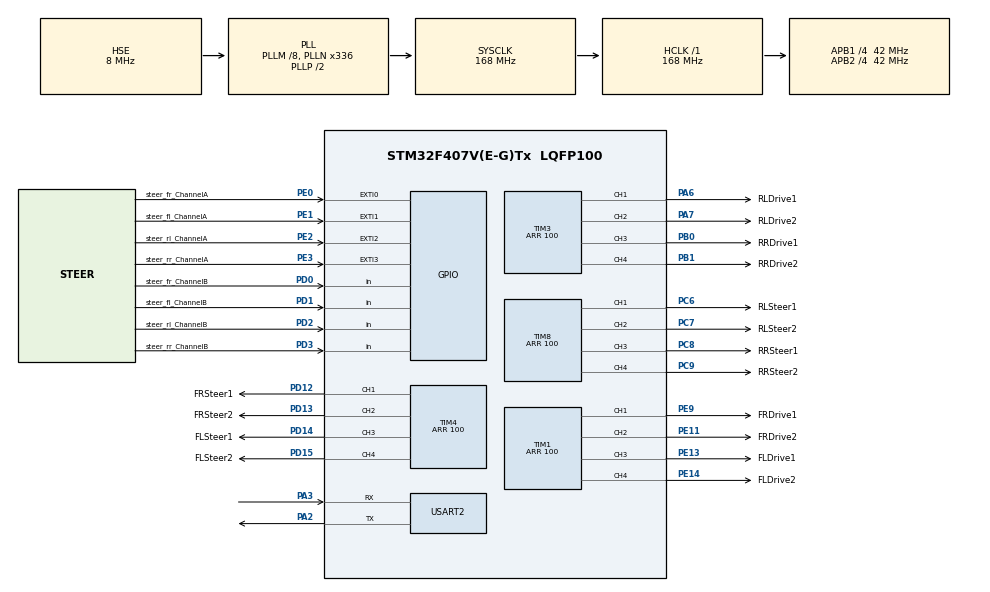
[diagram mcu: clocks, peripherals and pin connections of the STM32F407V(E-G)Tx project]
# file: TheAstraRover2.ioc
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Dma.Request0=USART2_TX
Dma.Request1=USART2_RX
Dma.USART2_RX.1.Direction=DMA_PERIPH_TO_MEMORY
Dma.USART2_RX.1.FIFOMode=DMA_FIFOMODE_DISABLE
Dma.USART2_RX.1.Instance=DMA1_Stream5
Dma.USART2_RX.1.MemDataAlignment=DMA_MDATAALIGN_BYTE
Dma.USART2_RX.1.MemInc=DMA_MINC_ENABLE
Dma.USART2_RX.1.Mode=DMA_CIRCULAR
Dma.USART2_RX.1.PeriphDataAlignment=DMA_PDATAALIGN_BYTE
Dma.USART2_RX.1.PeriphInc=DMA_PINC_DISABLE
Dma.USART2_RX.1.Priority=DMA_PRIORITY_HIGH
Dma.USART2_TX.0.Direction=DMA_MEMORY_TO_PERIPH
Dma.USART2_TX.0.FIFOMode=DMA_FIFOMODE_DISABLE
Dma.USART2_TX.0.Instance=DMA1_Stream6
Dma.USART2_TX.0.MemDataAlignment=DMA_MDATAALIGN_BYTE
Dma.USART2_TX.0.MemInc=DMA_MINC_ENABLE
Dma.USART2_TX.0.Mode=DMA_NORMAL
Dma.USART2_TX.0.PeriphDataAlignment=DMA_PDATAALIGN_BYTE
Dma.USART2_TX.0.PeriphInc=DMA_PINC_DISABLE
Dma.USART2_TX.0.Priority=DMA_PRIORITY_HIGH
Mcu.Family=STM32F4
Mcu.Name=STM32F407V(E-G)Tx
Mcu.Package=LQFP100
NVIC.DMA1_Stream5_IRQn=true\:0\:0\:false\:false\:true\:false\:true\:true
NVIC.DMA1_Stream6_IRQn=true\:0\:0\:false\:false\:true\:false\:true\:true
NVIC.EXTI0_IRQn=true\:0\:0\:false\:false\:true\:true\:true\:true
NVIC.EXTI1_IRQn=true\:0\:0\:false\:false\:true\:true\:true\:true
NVIC.EXTI2_IRQn=true\:0\:0\:false\:false\:true\:true\:true\:true
NVIC.EXTI3_IRQn=true\:0\:0\:false\:false\:true\:true\:true\:true
NVIC.PriorityGroup=NVIC_PRIORITYGROUP_0
NVIC.USART2_IRQn=true\:0\:0\:false\:false\:true\:true\:true\:true
PA13.Mode=Trace_Asynchronous_SW
PA13.Signal=SYS_JTMS-SWDIO
PA14.Mode=Trace_Asynchronous_SW
PA14.Signal=SYS_JTCK-SWCLK
PA2.Mode=Asynchronous
PA2.Signal=USART2_TX
PA3.Mode=Asynchronous
PA3.Signal=USART2_RX
PA6.GPIO_Label=RLDrive1
PA6.Signal=S_TIM3_CH1
PA7.GPIO_Label=RLDrive2
PA7.Signal=S_TIM3_CH2
PB0.GPIO_Label=RRDrive1
PB0.Signal=S_TIM3_CH3
PB1.GPIO_Label=RRDrive2
PB1.Signal=S_TIM3_CH4
PB3.Mode=Trace_Asynchronous_SW
PB3.Signal=SYS_JTDO-SWO
PC6.GPIO_Label=RLSteer1
PC6.Signal=S_TIM8_CH1
PC7.GPIO_Label=RLSteer2
PC7.Signal=S_TIM8_CH2
PC8.GPIO_Label=RRSteer1
PC8.Signal=S_TIM8_CH3
PC9.GPIO_Label=RRSteer2
PC9.Signal=S_TIM8_CH4
PD0.GPIO_Label=steer_fr_ChannelB
PD0.Signal=GPIO_Input
PD1.GPIO_Label=steer_fl_ChannelB
PD1.Signal=GPIO_Input
PD12.GPIO_Label=FRSteer1
PD12.Signal=S_TIM4_CH1
PD13.GPIO_Label=FRSteer2
PD13.Signal=S_TIM4_CH2
PD14.GPIO_Label=FLSteer1
PD14.Signal=S_TIM4_CH3
PD15.GPIO_Label=FLSteer2
PD15.Signal=S_TIM4_CH4
PD2.GPIO_Label=steer_rl_ChannelB
PD2.Signal=GPIO_Input
PD3.GPIO_Label=steer_rr_ChannelB
PD3.Signal=GPIO_Input
PE0.GPIO_Label=steer_fr_ChannelA
PE0.GPIO_ModeDefaultEXTI=GPIO_MODE_IT_RISING_FALLING
PE0.GPIO_PuPd=GPIO_PULLUP
PE0.Signal=GPXTI0
PE1.GPIO_Label=steer_fl_ChannelA
PE1.GPIO_ModeDefaultEXTI=GPIO_MODE_IT_RISING_FALLING
PE1.GPIO_PuPd=GPIO_PULLUP
PE1.Signal=GPXTI1
PE11.GPIO_Label=FRDrive2
PE11.Signal=S_TIM1_CH2
PE13.GPIO_Label=FLDrive1
PE13.Signal=S_TIM1_CH3
PE14.GPIO_Label=FLDrive2
PE14.Signal=S_TIM1_CH4
PE2.GPIO_Label=steer_rl_ChannelA
PE2.GPIO_ModeDefaultEXTI=GPIO_MODE_IT_RISING_FALLING
PE2.GPIO_PuPd=GPIO_PULLUP
PE2.Signal=GPXTI2
PE3.GPIO_Label=steer_rr_ChannelA
PE3.GPIO_ModeDefaultEXTI=GPIO_MODE_IT_RISING_FALLING
PE3.GPIO_PuPd=GPIO_PULLUP
PE3.Signal=GPXTI3
PE9.GPIO_Label=FRDrive1
PE9.Signal=S_TIM1_CH1
PH0-OSC_IN.Mode=HSE-External-Oscillator
PH0-OSC_IN.Signal=RCC_OSC_IN
PH1-OSC_OUT.Mode=HSE-External-Oscillator
PH1-OSC_OUT.Signal=RCC_OSC_OUT
ProjectManager.HeapSize=0x200
ProjectManager.StackSize=0x400
ProjectManager.TargetToolchain=STM32CubeIDE
RCC.48MHZClocksFreq_Value=48000000
RCC.AHBFreq_Value=168000000
RCC.APB1CLKDivider=RCC_HCLK_DIV4
RCC.APB1Freq_Value=42000000
RCC.APB1TimFreq_Value=84000000
RCC.APB2CLKDivider=RCC_HCLK_DIV4
RCC.APB2Freq_Value=42000000
RCC.APB2TimFreq_Value=84000000
RCC.CortexFreq_Value=168000000
RCC.HCLKFreq_Value=168000000
RCC.HSE_VALUE=8000000
RCC.HSI_VALUE=16000000
RCC.PLLM=8
RCC.PLLN=336
RCC.PLLQ=7
RCC.PLLSourceVirtual=RCC_PLLSOURCE_HSE
RCC.SYSCLKFreq_VALUE=168000000
RCC.SYSCLKSource=RCC_SYSCLKSOURCE_PLLCLK
RCC.VCOOutputFreq_Value=336000000
SH.S_TIM1_CH1.0=TIM1_CH1,PWM Generation1 CH1
SH.S_TIM1_CH2.0=TIM1_CH2,PWM Generation2 CH2
SH.S_TIM1_CH3.0=TIM1_CH3,PWM Generation3 CH3
SH.S_TIM1_CH4.0=TIM1_CH4,PWM Generation4 CH4
SH.S_TIM3_CH1.0=TIM3_CH1,PWM Generation1 CH1
SH.S_TIM3_CH2.0=TIM3_CH2,PWM Generation2 CH2
SH.S_TIM3_CH3.0=TIM3_CH3,PWM Generation3 CH3
SH.S_TIM3_CH4.0=TIM3_CH4,PWM Generation4 CH4
SH.S_TIM4_CH1.0=TIM4_CH1,PWM Generation1 CH1
SH.S_TIM4_CH2.0=TIM4_CH2,PWM Generation2 CH2
SH.S_TIM4_CH3.0=TIM4_CH3,PWM Generation3 CH3
SH.S_TIM4_CH4.0=TIM4_CH4,PWM Generation4 CH4
SH.S_TIM8_CH1.0=TIM8_CH1,PWM Generation1 CH1
SH.S_TIM8_CH2.0=TIM8_CH2,PWM Generation2 CH2
SH.S_TIM8_CH3.0=TIM8_CH3,PWM Generation3 CH3
SH.S_TIM8_CH4.0=TIM8_CH4,PWM Generation4 CH4
TIM1.Channel-PWM\ Generation1\ CH1=TIM_CHANNEL_1
TIM1.Channel-PWM\ Generation2\ CH2=TIM_CHANNEL_2
TIM1.Channel-PWM\ Generation3\ CH3=TIM_CHANNEL_3
TIM1.Channel-PWM\ Generation4\ CH4=TIM_CHANNEL_4
TIM1.Period=100
TIM3.Channel-PWM\ Generation1\ CH1=TIM_CHANNEL_1
TIM3.Channel-PWM\ Generation2\ CH2=TIM_CHANNEL_2
TIM3.Channel-PWM\ Generation3\ CH3=TIM_CHANNEL_3
TIM3.Channel-PWM\ Generation4\ CH4=TIM_CHANNEL_4
TIM3.Period=100
TIM4.Channel-PWM\ Generation1\ CH1=TIM_CHANNEL_1
TIM4.Channel-PWM\ Generation2\ CH2=TIM_CHANNEL_2
TIM4.Channel-PWM\ Generation3\ CH3=TIM_CHANNEL_3
TIM4.Channel-PWM\ Generation4\ CH4=TIM_CHANNEL_4
TIM4.Period=100
TIM8.Channel-PWM\ Generation1\ CH1=TIM_CHANNEL_1
TIM8.Channel-PWM\ Generation2\ CH2=TIM_CHANNEL_2
TIM8.Channel-PWM\ Generation3\ CH3=TIM_CHANNEL_3
TIM8.Channel-PWM\ Generation4\ CH4=TIM_CHANNEL_4
TIM8.Period=100
USART2.VirtualMode=VM_ASYNC
VP_TIM1_VS_ClockSourceINT.Mode=Internal
VP_TIM3_VS_ClockSourceINT.Mode=Internal
VP_TIM4_VS_ClockSourceINT.Mode=Internal
board=STM32F407G-DISC1

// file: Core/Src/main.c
/* USER CODE BEGIN Header */
/**
  ******************************************************************************
  * @file           : main.c
  * @brief          : Main program body
  ******************************************************************************
  * @attention
  *
  * Copyright (c) 2024 STMicroelectronics.
  * All rights reserved.
  *
  * This software is licensed under terms that can be found in the LICENSE file
  * in the root directory of this software component.
  * If no LICENSE file comes with this software, it is provided AS-IS.
  *
  ******************************************************************************
  */
/* USER CODE END Header */
#include "main.h"
#include "dma.h"
#include "tim.h"
#include "usart.h"
#include "gpio.h"

/* USER CODE BEGIN Includes */
#include "mainpp.h"
/* USER CODE END Includes */

void SystemClock_Config(void);

int main(void)
{

  /* MCU Configuration--------------------------------------------------------*/

  /* Reset of all peripherals, Initializes the Flash interface and the Systick. */
  HAL_Init();

  /* Configure the system clock */
  SystemClock_Config();

  /* Initialize all configured peripherals */
  MX_GPIO_Init();
  MX_DMA_Init();
  MX_USART2_UART_Init();
  MX_TIM1_Init();
  MX_TIM3_Init();
  MX_TIM4_Init();
  MX_TIM8_Init();
  /* USER CODE BEGIN 2 */
  HAL_TIM_Base_Start(&htim1);
  HAL_TIM_Base_Start(&htim3);
  HAL_TIM_Base_Start(&htim4);
  HAL_TIM_Base_Start(&htim8);

  HAL_TIM_PWM_Start(&htim1, TIM_CHANNEL_1);
  HAL_TIM_PWM_Start(&htim1, TIM_CHANNEL_2);
  HAL_TIM_PWM_Start(&htim1, TIM_CHANNEL_3);
  HAL_TIM_PWM_Start(&htim1, TIM_CHANNEL_4);

  HAL_TIM_PWM_Start(&htim3, TIM_CHANNEL_1);
  HAL_TIM_PWM_Start(&htim3, TIM_CHANNEL_2);
  HAL_TIM_PWM_Start(&htim3, TIM_CHANNEL_3);
  HAL_TIM_PWM_Start(&htim3, TIM_CHANNEL_4);

  HAL_TIM_PWM_Start(&htim4, TIM_CHANNEL_1);
  HAL_TIM_PWM_Start(&htim4, TIM_CHANNEL_2);
  HAL_TIM_PWM_Start(&htim4, TIM_CHANNEL_3);
  HAL_TIM_PWM_Start(&htim4, TIM_CHANNEL_4);

  HAL_TIM_PWM_Start(&htim8, TIM_CHANNEL_1);
  HAL_TIM_PWM_Start(&htim8, TIM_CHANNEL_2);
  HAL_TIM_PWM_Start(&htim8, TIM_CHANNEL_3);
  HAL_TIM_PWM_Start(&htim8, TIM_CHANNEL_4);

  setup();
  /* USER CODE END 2 */

  /* Infinite loop */
  /* USER CODE BEGIN WHILE */
  while (1)
  {
	  loop();
    /* USER CODE END WHILE */

  }
}

void SystemClock_Config(void)
{
  RCC_OscInitTypeDef RCC_OscInitStruct = {0};
  RCC_ClkInitTypeDef RCC_ClkInitStruct = {0};

  /** Configure the main internal regulator output voltage
  */
  __HAL_RCC_PWR_CLK_ENABLE();
  __HAL_PWR_VOLTAGESCALING_CONFIG(PWR_REGULATOR_VOLTAGE_SCALE1);

  /** Initializes the RCC Oscillators according to the specified parameters
  * in the RCC_OscInitTypeDef structure.
  */
  RCC_OscInitStruct.OscillatorType = RCC_OSCILLATORTYPE_HSE;
  RCC_OscInitStruct.HSEState = RCC_HSE_ON;
  RCC_OscInitStruct.PLL.PLLState = RCC_PLL_ON;
  RCC_OscInitStruct.PLL.PLLSource = RCC_PLLSOURCE_HSE;
  RCC_OscInitStruct.PLL.PLLM = 8;
  RCC_OscInitStruct.PLL.PLLN = 336;
  RCC_OscInitStruct.PLL.PLLP = RCC_PLLP_DIV2;
  RCC_OscInitStruct.PLL.PLLQ = 7;
  if (HAL_RCC_OscConfig(&RCC_OscInitStruct) != HAL_OK)
  {
    Error_Handler();
  }

  /** Initializes the CPU, AHB and APB buses clocks
  */
  RCC_ClkInitStruct.ClockType = RCC_CLOCKTYPE_HCLK|RCC_CLOCKTYPE_SYSCLK
                              |RCC_CLOCKTYPE_PCLK1|RCC_CLOCKTYPE_PCLK2;
  RCC_ClkInitStruct.SYSCLKSource = RCC_SYSCLKSOURCE_PLLCLK;
  RCC_ClkInitStruct.AHBCLKDivider = RCC_SYSCLK_DIV1;
  RCC_ClkInitStruct.APB1CLKDivider = RCC_HCLK_DIV4;
  RCC_ClkInitStruct.APB2CLKDivider = RCC_HCLK_DIV4;

  if (HAL_RCC_ClockConfig(&RCC_ClkInitStruct, FLASH_LATENCY_5) != HAL_OK)
  {
    Error_Handler();
  }
}

void Error_Handler(void)
{
  __disable_irq();
  while (1)
  {
  }
}
